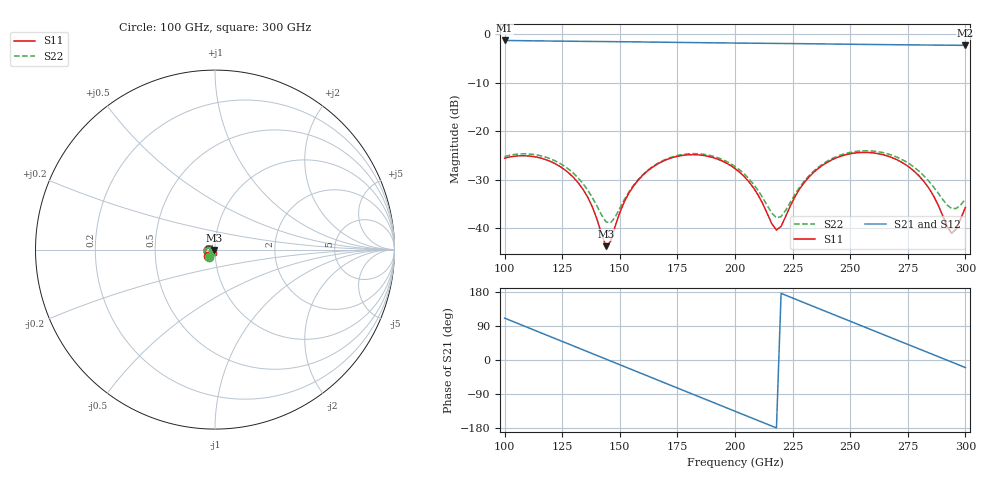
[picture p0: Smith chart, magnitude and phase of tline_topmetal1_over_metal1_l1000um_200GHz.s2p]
#  GHZ S DB R 50
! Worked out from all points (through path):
!   101 points, 100 GHz to 300 GHz, reference 50 ohm
!   highest |S21| = -1.24 dB at 100 GHz (marker M1); lowest = -2.3 dB at 300 GHz (marker M2)
!   group delay of S21, straight-line fit = 6.81 ps
!   lowest |S11| = -43.8 dB at 144 GHz (marker M3), VSWR 1.01, Z = 49.4 - j0.132 ohm
!   |S11| at or under -10 dB: start of sweep to end of sweep
!   |S22| runs from -39.0 to -24.1 dB; largest |S21 - S12| = 9.8e-14
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100  -25.59 -134.0  -1.24 110.5  -1.24 110.5  -25.25 -130.7
116  -25.61 -171.7  -1.34 71.1  -1.34 71.1  -25.13 -166.7
126  -27.95 166.2  -1.39 46.6  -1.39 46.6  -27.25 173.2
134  -32.02 152.3  -1.43 26.9  -1.43 26.9  -30.83 162.3
138  -35.58 150.4  -1.44 17.1  -1.44 17.1  -33.66 162.5
144  -43.79 -168.1  -1.47 2.3  -1.47 2.3  -38.75 -169.7
146  -42.81 -132.5  -1.48 -2.6  -1.48 -2.6  -38.98 -149.7
148  -39.66 -113.7  -1.49 -7.5  -1.49 -7.5  -37.76 -132.5
156  -31.32 -108.9  -1.53 -27.2  -1.53 -27.2  -31.16 -115.6
168  -26.38 -131.3  -1.60 -56.7  -1.60 -56.7  -26.26 -132.4
184  -24.90 -166.2  -1.69 -96.0  -1.69 -96.0  -24.67 -164.2
200  -27.73 161.3  -1.77 -135.2  -1.77 -135.2  -27.30 165.9
208  -31.70 150.7  -1.81 -154.8  -1.81 -154.8  -30.94 157.5
218  -40.44 -168.0  -1.85 -179.3  -1.85 -179.3  -37.93 -168.2
228  -32.00 -119.2  -1.90 156.2  -1.90 156.2  -31.62 -122.3
234  -28.57 -125.6  -1.93 141.4  -1.93 141.4  -28.32 -126.0
244  -25.52 -143.8  -1.99 116.9  -1.99 116.9  -25.27 -141.8
252  -24.52 -160.3  -2.03 97.4  -2.03 97.4  -24.22 -156.9
268  -25.44 166.4  -2.12 58.3  -2.12 58.3  -24.95 172.9
282  -30.40 142.5  -2.18 24.1  -2.18 24.1  -29.24 154.0
294  -41.11 -176.6  -2.23 -5.3  -2.23 -5.3  -36.00 -177.7
300  -35.79 -127.8  -2.25 -20.0  -2.25 -20.0  -34.03 -143.9
